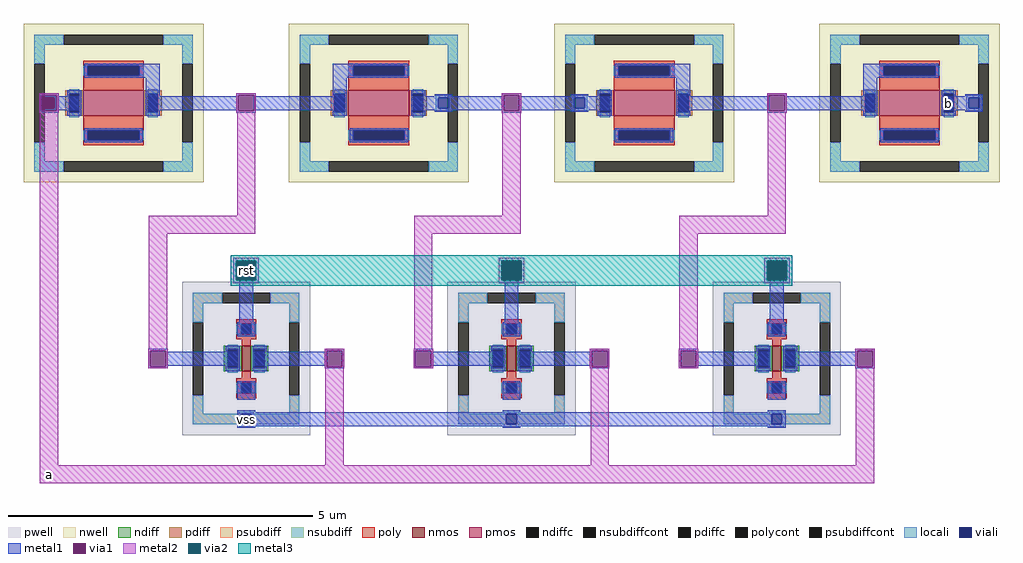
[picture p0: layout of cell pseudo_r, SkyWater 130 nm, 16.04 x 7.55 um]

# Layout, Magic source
magic
tech sky130A
magscale 1 2
<< locali >>
rect -237 17 -187 25
rect -237 -17 -229 17
rect -195 -17 -187 17
rect -237 -25 -187 -17
rect 1059 17 1109 25
rect 1059 -17 1067 17
rect 1101 -17 1109 17
rect 1059 -25 1109 -17
rect 1507 17 1557 25
rect 1507 -17 1515 17
rect 1549 -17 1557 17
rect 1507 -25 1557 -17
rect 2803 17 2853 25
rect 2803 -17 2811 17
rect 2845 -17 2853 17
rect 2803 -25 2853 -17
rect 411 -1022 461 -1014
rect 411 -1056 419 -1022
rect 453 -1056 461 -1022
rect 411 -1064 461 -1056
rect 1283 -1022 1333 -1014
rect 1283 -1056 1291 -1022
rect 1325 -1056 1333 -1022
rect 1283 -1064 1333 -1056
rect 2155 -1022 2205 -1014
rect 2155 -1056 2163 -1022
rect 2197 -1056 2205 -1022
rect 2155 -1064 2205 -1056
<< viali >>
rect -229 -17 -195 17
rect 1067 -17 1101 17
rect 1515 -17 1549 17
rect 2811 -17 2845 17
rect 419 -1056 453 -1022
rect 1291 -1056 1325 -1022
rect 2163 -1056 2197 -1022
<< metal1 >>
rect 86 83 152 129
rect -244 26 -180 32
rect -244 -26 -238 26
rect -186 23 -180 26
rect 106 23 152 83
rect 720 83 786 129
rect 1830 83 1896 129
rect 404 26 468 32
rect 404 23 410 26
rect -186 -23 -106 23
rect 106 -23 410 23
rect -186 -26 -180 -23
rect -244 -32 -180 -26
rect 106 -42 152 -23
rect 404 -26 410 -23
rect 462 23 468 26
rect 720 23 766 83
rect 1055 23 1113 29
rect 1276 26 1340 32
rect 1276 23 1282 26
rect 462 -23 766 23
rect 978 17 1282 23
rect 978 -17 1067 17
rect 1101 -17 1282 17
rect 978 -23 1282 -17
rect 462 -26 468 -23
rect 404 -32 468 -26
rect 720 -42 766 -23
rect 1055 -29 1113 -23
rect 1276 -26 1282 -23
rect 1334 23 1340 26
rect 1503 23 1561 29
rect 1850 23 1896 83
rect 2464 83 2530 129
rect 2148 26 2212 32
rect 2148 23 2154 26
rect 1334 17 1638 23
rect 1334 -17 1515 17
rect 1549 -17 1638 17
rect 1334 -23 1638 -17
rect 1850 -23 2154 23
rect 1334 -26 1340 -23
rect 1276 -32 1340 -26
rect 1503 -29 1561 -23
rect 1850 -42 1896 -23
rect 2148 -26 2154 -23
rect 2206 23 2212 26
rect 2464 23 2510 83
rect 2799 23 2857 29
rect 2206 -23 2510 23
rect 2722 17 2857 23
rect 2722 -17 2811 17
rect 2845 -17 2857 17
rect 2722 -23 2857 -17
rect 2206 -26 2212 -23
rect 2148 -32 2212 -26
rect 2464 -42 2510 -23
rect 2799 -29 2857 -23
rect 404 -524 468 -518
rect 404 -576 410 -524
rect 462 -576 468 -524
rect 404 -582 468 -576
rect 1276 -524 1340 -518
rect 1276 -576 1282 -524
rect 1334 -576 1340 -524
rect 1276 -582 1340 -576
rect 2148 -524 2212 -518
rect 2148 -576 2154 -524
rect 2206 -576 2212 -524
rect 2148 -582 2212 -576
rect 413 -766 459 -582
rect 1285 -766 1331 -582
rect 2157 -766 2203 -582
rect 114 -814 178 -808
rect 114 -866 120 -814
rect 172 -817 178 -814
rect 694 -814 758 -808
rect 694 -817 700 -814
rect 172 -863 415 -817
rect 457 -863 700 -817
rect 172 -866 178 -863
rect 114 -872 178 -866
rect 694 -866 700 -863
rect 752 -866 758 -814
rect 694 -872 758 -866
rect 986 -814 1050 -808
rect 986 -866 992 -814
rect 1044 -817 1050 -814
rect 1566 -814 1630 -808
rect 1566 -817 1572 -814
rect 1044 -863 1287 -817
rect 1329 -863 1572 -817
rect 1044 -866 1050 -863
rect 986 -872 1050 -866
rect 1566 -866 1572 -863
rect 1624 -866 1630 -814
rect 1566 -872 1630 -866
rect 1858 -814 1922 -808
rect 1858 -866 1864 -814
rect 1916 -817 1922 -814
rect 2438 -814 2502 -808
rect 2438 -817 2444 -814
rect 1916 -863 2159 -817
rect 2201 -863 2444 -817
rect 1916 -866 1922 -863
rect 1858 -872 1922 -866
rect 2438 -866 2444 -863
rect 2496 -866 2502 -814
rect 2438 -872 2502 -866
rect 407 -976 465 -914
rect 1279 -976 1337 -914
rect 2151 -976 2209 -914
rect 407 -1016 465 -1010
rect 1279 -1016 1337 -1010
rect 2151 -1016 2209 -1010
rect 407 -1022 2209 -1016
rect 407 -1056 419 -1022
rect 453 -1056 1291 -1022
rect 1325 -1056 2163 -1022
rect 2197 -1056 2209 -1022
rect 407 -1062 2209 -1056
rect 407 -1068 465 -1062
rect 1279 -1068 1337 -1062
rect 2151 -1068 2209 -1062
<< via1 >>
rect -238 17 -186 26
rect -238 -17 -229 17
rect -229 -17 -195 17
rect -195 -17 -186 17
rect -238 -26 -186 -17
rect 410 -26 462 26
rect 1282 -26 1334 26
rect 2154 -26 2206 26
rect 410 -576 462 -524
rect 1282 -576 1334 -524
rect 2154 -576 2206 -524
rect 120 -866 172 -814
rect 700 -866 752 -814
rect 992 -866 1044 -814
rect 1572 -866 1624 -814
rect 1864 -866 1916 -814
rect 2444 -866 2496 -814
<< metal2 >>
rect -244 26 -180 32
rect -244 -26 -238 26
rect -186 -26 -180 26
rect -244 -32 -180 -26
rect 404 26 468 32
rect 404 -26 410 26
rect 462 -26 468 26
rect 404 -32 468 -26
rect 1276 26 1340 32
rect 1276 -26 1282 26
rect 1334 -26 1340 26
rect 1276 -32 1340 -26
rect 2148 26 2212 32
rect 2148 -26 2154 26
rect 2206 -26 2212 26
rect 2148 -32 2212 -26
rect -242 -1190 -182 -32
rect 406 -370 466 -32
rect 1278 -370 1338 -32
rect 2150 -370 2210 -32
rect 116 -430 466 -370
rect 988 -430 1338 -370
rect 1860 -430 2210 -370
rect 116 -808 176 -430
rect 394 -518 478 -508
rect 394 -582 404 -518
rect 468 -582 478 -518
rect 394 -592 478 -582
rect 988 -808 1048 -430
rect 1266 -518 1350 -508
rect 1266 -582 1276 -518
rect 1340 -582 1350 -518
rect 1266 -592 1350 -582
rect 1860 -808 1920 -430
rect 2138 -518 2222 -508
rect 2138 -582 2148 -518
rect 2212 -582 2222 -518
rect 2138 -592 2222 -582
rect 114 -814 178 -808
rect 114 -866 120 -814
rect 172 -866 178 -814
rect 114 -872 178 -866
rect 694 -814 758 -808
rect 694 -866 700 -814
rect 752 -866 758 -814
rect 694 -872 758 -866
rect 986 -814 1050 -808
rect 986 -866 992 -814
rect 1044 -866 1050 -814
rect 986 -872 1050 -866
rect 1566 -814 1630 -808
rect 1566 -866 1572 -814
rect 1624 -866 1630 -814
rect 1566 -872 1630 -866
rect 1858 -814 1922 -808
rect 1858 -866 1864 -814
rect 1916 -866 1922 -814
rect 1858 -872 1922 -866
rect 2438 -814 2502 -808
rect 2438 -866 2444 -814
rect 2496 -866 2502 -814
rect 2438 -872 2502 -866
rect 696 -1190 756 -872
rect 1568 -1190 1628 -872
rect 2440 -1190 2500 -872
rect -242 -1250 2500 -1190
<< via2 >>
rect 404 -524 468 -518
rect 404 -576 410 -524
rect 410 -576 462 -524
rect 462 -576 468 -524
rect 404 -582 468 -576
rect 1276 -524 1340 -518
rect 1276 -576 1282 -524
rect 1282 -576 1334 -524
rect 1334 -576 1340 -524
rect 1276 -582 1340 -576
rect 2148 -524 2212 -518
rect 2148 -576 2154 -524
rect 2154 -576 2206 -524
rect 2206 -576 2212 -524
rect 2148 -582 2212 -576
<< metal3 >>
rect 386 -518 2230 -500
rect 386 -582 404 -518
rect 468 -582 1276 -518
rect 1340 -582 2148 -518
rect 2212 -582 2230 -518
rect 386 -600 2230 -582
use p042_1  Ma1
transform -1 0 0 0 1 0
box -296 -261 296 261
use p042_1  Ma2
transform -1 0 1744 0 1 0
box -296 -261 296 261
use p042_1  Mb1
transform 1 0 872 0 1 0
box -296 -261 296 261
use p042_1  Mb2
transform 1 0 2616 0 1 0
box -296 -261 296 261
use n042_015  S1
transform 1 0 436 0 1 -840
box -211 -252 211 252
use n042_015  S2
transform 1 0 1308 0 1 -840
box -211 -252 211 252
use n042_015  S3
transform 1 0 2180 0 1 -840
box -211 -252 211 252
<< labels >>
flabel metal2 -242 -1250 -182 -1190 0 FreeSans 320 0 0 0 a
port 1 nsew
flabel metal1 2722 -20 2768 20 0 FreeSans 320 0 0 0 b
port 2 nsew
flabel metal3 396 -590 476 -510 0 FreeSans 320 0 0 0 rst
port 3 nsew
flabel metal1 416 -1059 456 -1019 0 FreeSans 320 0 0 0 vss
port 4 nsew
<< end >>

# cell p042_1: kit device sky130_fd_pr__pfet_01v8, w 0.42 l 1 m 1 nf 1 diffcov 100 polycov 100 guard 1 glc 1 grc 1 gtc 1 gbc 1 tbcov 100 rlcov 100 topc 1 botc 1 poverlap 0 doverlap 1 lmin 0.15 wmin 0.42 class mosfet compatible {sky130_fd_pr__pfet_01v8 sky130_fd_pr__pfet_01v8_lvt sky130_fd_pr__pfet_01v8_hvt sky130_fd_pr__pfet_g5v0d10v5} full_metal 1 conn_gates 0 viasrc 100 viadrn 100 viagate 100 viagb 0 viagr 0 viagl 0 viagt 0 doports 1

# cell n042_015: kit device sky130_fd_pr__nfet_01v8, w 0.42 l 0.15 m 1 nf 1 diffcov 100 polycov 100 guard 1 glc 1 grc 1 gtc 1 gbc 0 tbcov 100 rlcov 100 topc 1 botc 1 poverlap 0 doverlap 1 lmin 0.15 wmin 0.42 class mosfet compatible {sky130_fd_pr__nfet_01v8 sky130_fd_pr__nfet_01v8_lvt sky130_fd_bs_flash__special_sonosfet_star sky130_fd_pr__nfet_g5v0d10v5 sky130_fd_pr__nfet_05v0_nvt sky130_fd_pr__nfet_03v3_nvt} full_metal 1 conn_gates 0 viasrc 100 viadrn 100 viagate 100 viagb 0 viagr 0 viagl 0 viagt 0 doports 1
